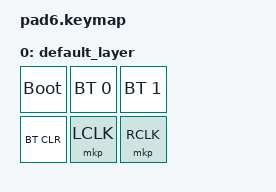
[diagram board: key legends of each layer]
#include <behaviors.dtsi>
#include <dt-bindings/zmk/keys.h>
#include <dt-bindings/zmk/bt.h>
#include <dt-bindings/zmk/mouse.h>



/ {
    keymap {
        compatible = "zmk,keymap";

        default_layer {
            bindings = <
            &bootloader  &bt BT_SEL 0  &bt BT_SEL 1
            &bt BT_CLR    &mkp LCLK       &mkp RCLK
            >;
        };
    };
};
